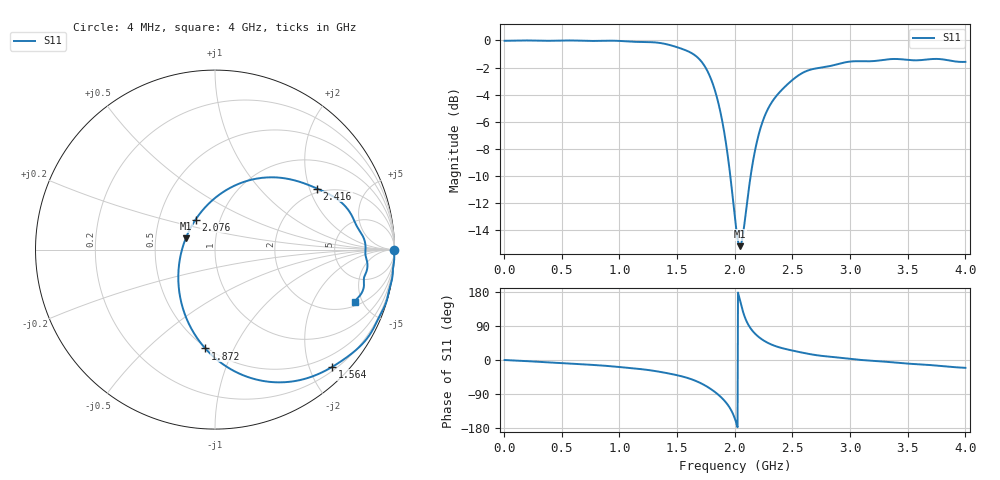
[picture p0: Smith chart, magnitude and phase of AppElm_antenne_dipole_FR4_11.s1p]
! TOUCHSTONE file generated by CST MICROWAVE STUDIO
! Date and time: Thu May 12 15:49:42 2022
! Project name: AppElm_antenne_dipole_FR4.cst
! Parameters = {L=48.5; e=0.035; f=2.45e+09; h=1.6; i=0.8; l1=4; lambda=122.449; ls=30; wl=1.7; ws=80}
! Header version: 2018
! Port assignment regex: !\s*Touchstone port\s*([0-9]+)\s*=\s*(CST MWS port|CST DS port)\s*([0-9]+|Zmin|Zmax)\s*\(\"(.*)\"\)(\s*mode\s*([0-9]+))?.*
! Touchstone port assignment:
! Touchstone port 1 = CST MWS port 1 ("")
# GHz S MA R 50
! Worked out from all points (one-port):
!   1000 points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, 4 MHz to 4 GHz, reference 50 ohm
!   lowest |S11| = -15.2 dB at 2.044 GHz (marker M1), VSWR 1.42, Z = 35.8 + j4.69 ohm
!   |S11| at or under -10 dB: 1.962 GHz to 2.137 GHz (175.7 MHz wide, 8.57 % of centre)
!   S11 on the Smith chart (normalised r, x): 4 MHz: open; 1.564 GHz: 0.27, -2.39; 1.872 GHz: 0.49, -0.78; 2.076 GHz: 0.76, +0.27; 2.416 GHz: 1.86, +2.26; 4 GHz: 2.25, -4.36
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0.004  0.9972 -0.1
0.504  0.9992 -7.9
1.004  0.996 -18.6
1.3  0.9842 -28.7
1.4  0.9704 -33.9
1.504  0.9431 -40.4
1.564  0.9238 -45.0
1.66  0.8783 -54.9
1.748  0.7926 -68.2
1.812  0.6873 -80.8
1.872  0.5536 -95.6
1.94  0.3741 -118.5
1.972  0.2894 -134.3
2.004  0.2168 -157.4
2.024  0.1862 -177.5
2.044  0.1747 158.6
2.076  0.1992 123.0
2.14  0.322 82.4
2.208  0.4512 60.7
2.304  0.5763 42.7
2.416  0.663 30.9
2.504  0.7177 24.6
2.668  0.7829 14.6
3.004  0.8364 2.9
3.36  0.8542 -6.0
3.504  0.8476 -9.6
3.74  0.8551 -14.6
4  0.834 -20.7
